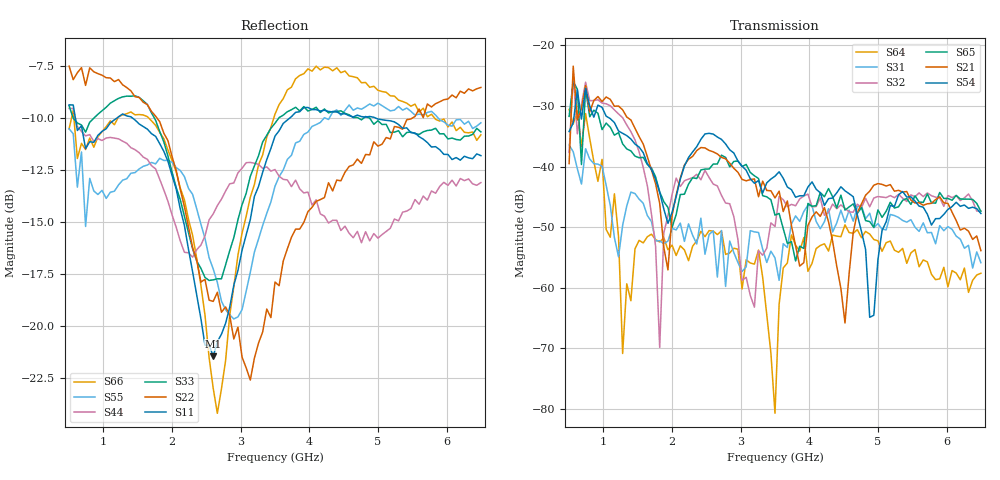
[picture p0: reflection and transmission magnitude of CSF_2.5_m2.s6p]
!Keysight Technologies,M9804A,MY58100912,A.14.10.03
!Date: Thursday, April 27, 2023 10:28:33
!Correction: S11(C  6-Port  )
!S12(C  6-Port  )
!S13(C  6-Port  )
!S14(C  6-Port  )
!S15(C  6-Port  )
!S16(C  6-Port  )
!S21(C  6-Port  )
!S22(C  6-Port  )
!S23(C  6-Port  )
!S24(C  6-Port  )
!S25(C  6-Port  )
!S26(C  6-Port  )
!S31(C  6-Port  )
!S32(C  6-Port  )
!S33(C  6-Port  )
!S34(C  6-Port  )
!S35(C  6-Port  )
!S36(C  6-Port  )
!S41(C  6-Port  )
!S42(C  6-Port  )
!S43(C  6-Port  )
!S44(C  6-Port  )
!S45(C  6-Port  )
!S46(C  6-Port  )
!S51(C  6-Port  )
!S52(C  6-Port  )
!S53(C  6-Port  )
!S54(C  6-Port  )
!S55(C  6-Port  )
!S56(C  6-Port  )
!S61(C  6-Port  )
!S62(C  6-Port  )
!S63(C  6-Port  )
!S64(C  6-Port  )
!S65(C  6-Port  )
!S66(C  6-Port  )
!S6P File: Measurement: :
# Hz S  RI  R 50
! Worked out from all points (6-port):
!   101 points, 500 MHz to 6.5 GHz, reference 50 ohm
!   strongest paths, dB at 500 MHz, 2 GHz, 3.5 GHz, 5 GHz, 6.5 GHz:
!     S54: -34.2, -47.6, -41.6, -55.4, -47.8
!     S21: -39.5, -48.1, -45.2, -42.8, -53.9
!     S65: -31.7, -50.1, -48.0, -47.2, -47.4
!     S32: -37.6, -44.6, -49.9, -44.9, -47.3
!     S31: -36.4, -50.2, -55.1, -49.4, -55.9
!     S64: -30.6, -53.0, -80.8, -52.3, -57.6
!   lowest |S11| = -21.5 dB at 2.6 GHz (marker M1), VSWR 1.18, Z = 42.5 + j2.16 ohm
!   |S11| at or under -10 dB: 591.2 MHz to 1.191 GHz (599.9 MHz wide, 67.3 % of centre); 1.428 GHz to 3.711 GHz (2.283 GHz wide, 88.8 % of centre); 4.974 GHz to end of sweep
